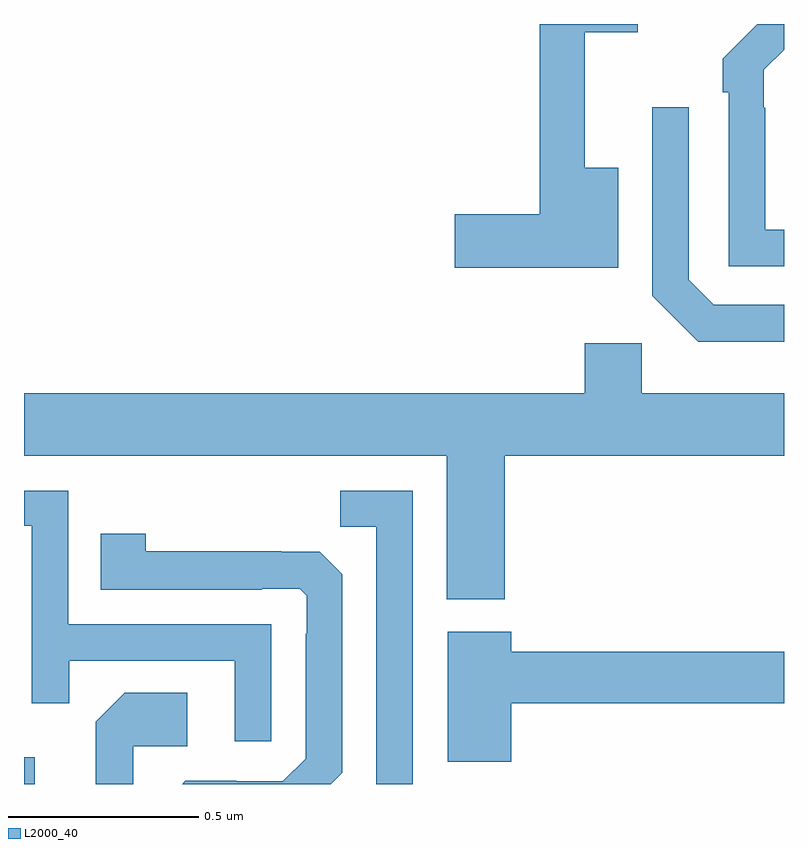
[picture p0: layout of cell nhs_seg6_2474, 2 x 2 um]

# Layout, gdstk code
import gdstk
lib = gdstk.Library(unit=1e-6, precision=1e-09)
def R(c, l, rs):  # rectangles x0, y0, x1, y1
    for r in rs: c.add(gdstk.rectangle(r[:2], r[2:], *l))
def P(c, l, *ps):  # polygons
    for p in ps: c.add(gdstk.Polygon(p, *l))
L2000_40 = (2000, 40)

nhs_seg6_2474 = lib.new_cell('nhs_seg6_2474')
R(nhs_seg6_2474, L2000_40, [(144,918.5,144.028,918.571)])
P(nhs_seg6_2474, L2000_40, [(146,919.959),(145.95,919.959),(145.95,920.279),(145.947,920.279),(145.947,920.379),(146,920.432),(146,920.5),(145.93,920.5),(145.839,920.409),(145.839,920.321),(145.854,920.321),(145.854,919.863),(146,919.863)],
  [(145.564,920.122),(145.475,920.122),(145.475,920.478),(145.615,920.478),(145.615,920.5),(145.357,920.5),(145.357,920),(145.134,920),(145.134,919.858),(145.564,919.858)],
  [(146,919.761),(145.815,919.761),(145.749,919.827),(145.749,920.281),(145.653,920.281),(145.653,919.785),(145.774,919.664),(146,919.664)],
  [(145.265,919.364),(146,919.364),(146,919.528),(145.626,919.528),(145.626,919.66),(145.475,919.66),(145.475,919.528),(144,919.528),(144,919.364),(145.112,919.364),(145.112,918.986),(145.265,918.986)],
  [(144.651,918.921),(144.117,918.921),(144.117,919.272),(144,919.272),(144,919.179),(144.021,919.179),(144.021,918.712),(144.119,918.712),(144.119,918.825),(144.555,918.825),(144.555,918.612),(144.651,918.612)],
  [(145.023,919.272),(144.832,919.272),(144.832,919.177),(144.927,919.177),(144.927,918.5),(145.023,918.5)],
  [(144.837,918.53),(144.837,919.052),(144.778,919.111),(144.677,919.111),(144.677,919.112),(144.321,919.112),(144.321,919.159),(144.202,919.159),(144.202,919.011),(144.626,919.011),(144.626,919.014),(144.726,919.014),(144.744,918.996),(144.744,918.896),(144.741,918.896),(144.741,918.567),(144.681,918.507),(144.558,918.507),(144.558,918.508),(144.424,918.508),(144.416,918.5),(144.807,918.5)],
  [(145.282,918.712),(146,918.712),(146,918.848),(145.282,918.848),(145.282,918.901),(145.115,918.901),(145.115,918.558),(145.282,918.558)],
  [(144.288,918.6),(144.43,918.6),(144.43,918.74),(144.265,918.74),(144.189,918.664),(144.189,918.5),(144.288,918.5)])

lib.write_gds('nhs_seg6_2474.gds')
